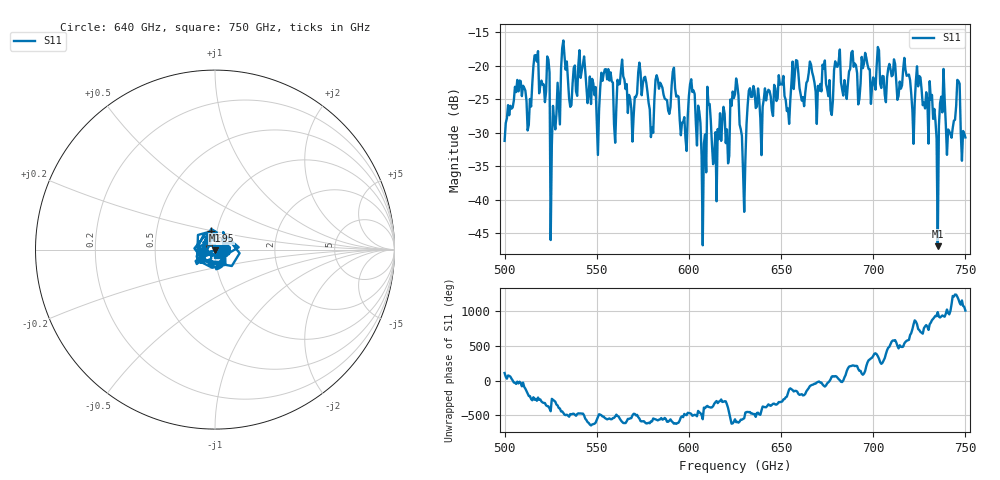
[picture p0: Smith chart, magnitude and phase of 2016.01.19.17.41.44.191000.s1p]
!Created with skrf (http://scikit-rf.org).
# GHz S RI R 50.0
!freq ReS11 ImS11
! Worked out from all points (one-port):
!   401 points, 500 GHz to 750 GHz, reference 50 ohm
!   lowest |S11| = -47.0 dB at 735 GHz (marker M1), VSWR 1.01, Z = 50 - j0.448 ohm
!   |S11| at or under -10 dB: start of sweep to end of sweep
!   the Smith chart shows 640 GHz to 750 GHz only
!   S11 on the Smith chart (normalised r, x): 640 GHz: 1.10, -0.03; 695 GHz: 0.94, +0.19; 750 GHz: 1.02, -0.06
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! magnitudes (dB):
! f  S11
! 500 GHz  -31.2
! 507.5 GHz  -23.8
! 513.1 GHz  -28.8
! 516.9 GHz  -18.4
! 523.1 GHz  -18.6
! 526.2 GHz  -26.0
! 531.2 GHz  -17.3
! 550 GHz  -28.5
! 562.5 GHz  -22.7
! 579.4 GHz  -30.7
! 583.1 GHz  -22.0
! 593.8 GHz  -24.5
! 597.5 GHz  -27.7
! 601.9 GHz  -23.9
! 608.1 GHz  -31.6
! 611.2 GHz  -25.7
! 613.8 GHz  -33.2
! 625 GHz  -24.2
! 629.4 GHz  -35.9
! 633.8 GHz  -24.7
! 640 GHz  -26.1
! 656.2 GHz  -19.4
! 687.5 GHz  -20.5
! 695 GHz  -19.6
! 718.8 GHz  -21.4
! 735 GHz  -47.0
! 737.5 GHz  -27.0
! 750 GHz  -30.7
